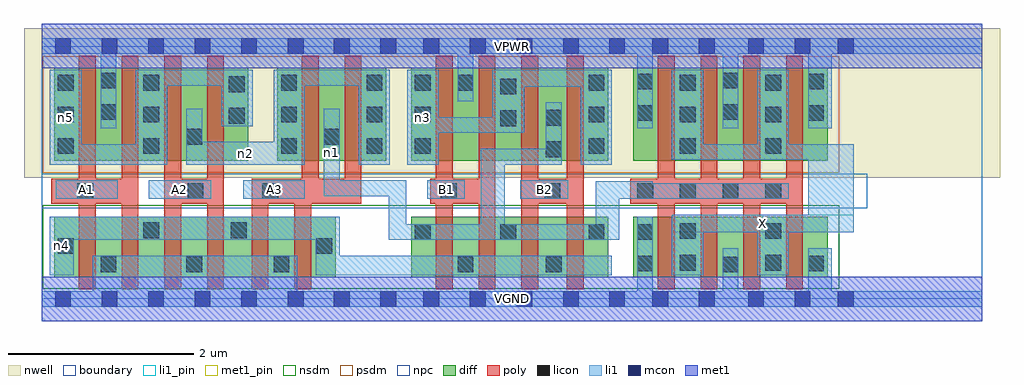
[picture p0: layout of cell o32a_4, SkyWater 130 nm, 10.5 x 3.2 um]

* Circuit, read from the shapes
.subckt o32a_4 A1 A2 A3 B1 B2 VGND VPWR X n1 n2 n3 n4 n5
XM1 VGND A1 n4 VSUBS sky130_fd_pr__nfet_01v8 w=0.65 l=0.18 m=2
XM2 VGND A2 n4 VSUBS sky130_fd_pr__nfet_01v8 w=0.65 l=0.18 m=2
XM3 VGND A3 n4 VSUBS sky130_fd_pr__nfet_01v8 w=0.65 l=0.18 m=2
XM4 n4 B1 n1 VSUBS sky130_fd_pr__nfet_01v8 w=0.65 l=0.18 m=2
XM5 n4 B2 n1 VSUBS sky130_fd_pr__nfet_01v8 w=0.65 l=0.18 m=2
XM6 X n1 VGND VSUBS sky130_fd_pr__nfet_01v8 w=0.65 l=0.18 m=4
XM7 VPWR A1 n5 n6 sky130_fd_pr__pfet_01v8 w=1 l=0.18 m=2
XM8 n2 A2 n5 n6 sky130_fd_pr__pfet_01v8 w=1 l=0.18 m=2
XM9 n1 A3 n2 n6 sky130_fd_pr__pfet_01v8 w=1 l=0.18 m=2
XM10 VPWR B1 n3 n6 sky130_fd_pr__pfet_01v8 w=1 l=0.18 m=2
XM11 n1 B2 n3 n6 sky130_fd_pr__pfet_01v8 w=1 l=0.18 m=2
XM12 X n1 VPWR n6 sky130_fd_pr__pfet_01v8 w=1 l=0.18 m=4
.ends

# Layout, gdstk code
import gdstk
lib = gdstk.Library(unit=1e-6, precision=1e-09)
def R(c, l, rs):  # rectangles x0, y0, x1, y1
    for r in rs: c.add(gdstk.rectangle(r[:2], r[2:], *l))
def A(c, l, x, y, w, h, nx, ny, dx, dy):  # array of equal rectangles
    R(c, l, [(x+i*dx, y+j*dy, x+i*dx+w, y+j*dy+h) for i in range(nx) for j in range(ny)])
nwell = (64, 20)
diff = (65, 20)
poly = (66, 20)
licon = (66, 44)
li1_pin = (67, 16)
li1 = (67, 20)
mcon = (67, 44)
met1_pin = (68, 16)
met1 = (68, 20)
nsdm = (93, 44)
psdm = (94, 20)
npc = (95, 20)
boundary = (235, 4)

o32a_4 = lib.new_cell('o32a_4')
R(o32a_4, nwell, [(-0.19,1.305,10.31,2.91), (0,1.305,10.12,2.91)])
R(o32a_4, diff, [(0.135,0.235,3.165,0.885), (3.975,0.235,6.095,0.885), (6.365,0.235,8.455,0.885), (0.135,1.485,2.225,2.485), (2.535,1.485,3.705,2.485), (3.975,1.485,6.095,2.485), (6.365,1.485,8.455,2.485)])
A(o32a_4, poly, 0.4, 0.105, 0.18, 2.51, 4, 1, 0.46, 0)
A(o32a_4, poly, 4.24, 0.105, 0.18, 2.51, 3, 1, 0.46, 0)
A(o32a_4, poly, 6.63, 0.105, 0.18, 2.51, 4, 1, 0.46, 0)
R(o32a_4, poly, [(2.26,0.105,2.44,1.295), (2.72,0.105,2.9,1.295), (5.65,0.105,5.83,2.615), (0.105,1.025,1.04,1.295), (1.32,1.025,1.96,1.295), (2.26,1.025,3.44,1.295), (2.8,1.025,2.98,2.615), (3.26,1.025,3.44,2.615), (4.18,1.025,4.88,1.295), (5.16,1.025,5.83,1.295), (6.33,1.025,8.19,1.295)])
A(o32a_4, licon, 6.865, 1.075, 0.17, 0.17, 3, 1, 0.46, 0)
A(o32a_4, licon, 0.175, 1.56, 0.17, 0.17, 1, 3, 0, 0.34)
A(o32a_4, licon, 1.095, 1.56, 0.17, 0.17, 1, 3, 0, 0.34)
A(o32a_4, licon, 2.575, 1.56, 0.17, 0.17, 1, 3, 0, 0.34)
A(o32a_4, licon, 3.495, 1.56, 0.17, 0.17, 1, 3, 0, 0.34)
A(o32a_4, licon, 4.015, 1.56, 0.17, 0.17, 1, 3, 0, 0.34)
A(o32a_4, licon, 5.885, 1.56, 0.17, 0.17, 1, 3, 0, 0.34)
A(o32a_4, licon, 6.865, 1.56, 0.17, 0.17, 1, 3, 0, 0.34)
A(o32a_4, licon, 7.785, 1.56, 0.17, 0.17, 1, 3, 0, 0.34)
R(o32a_4, licon, [(0.635,0.285,0.805,0.455), (1.555,0.285,1.725,0.455), (2.495,0.285,2.665,0.455), (4.475,0.285,4.645,0.455), (5.425,0.285,5.595,0.455), (7.325,0.285,7.495,0.455), (6.405,0.295,6.575,0.465), (8.245,0.295,8.415,0.465), (6.865,0.305,7.035,0.475), (7.785,0.305,7.955,0.475), (0.175,0.485,0.345,0.655), (2.955,0.485,3.125,0.655), (4.015,0.635,4.185,0.805), (4.935,0.635,5.105,0.805), (5.885,0.635,6.055,0.805), (6.405,0.635,6.575,0.805), (6.865,0.645,7.035,0.815), (7.785,0.645,7.955,0.815), (1.095,0.655,1.265,0.825), (2.035,0.655,2.205,0.825), (0.385,1.075,0.555,1.245), (1.57,1.075,1.74,1.245), (2.375,1.075,2.545,1.245), (4.295,1.075,4.465,1.245), (5.41,1.075,5.58,1.245), (6.41,1.075,6.58,1.245), (5.425,1.525,5.595,1.695), (1.555,1.66,1.725,1.83), (3.035,1.66,3.205,1.83), (4.935,1.86,5.105,2.03), (5.425,1.865,5.595,2.035), (2.015,1.885,2.185,2.055), (6.405,1.915,6.575,2.085), (8.245,1.915,8.415,2.085), (0.635,1.925,0.805,2.095), (7.325,1.925,7.495,2.095), (4.935,2.2,5.105,2.37), (2.015,2.225,2.185,2.395), (4.475,2.24,4.645,2.41), (6.405,2.255,6.575,2.425), (8.245,2.255,8.415,2.425), (0.635,2.265,0.805,2.435), (7.325,2.265,7.495,2.435)])
R(o32a_4, li1_pin, [(6.78,0.715,8.735,0.905), (0.15,1.075,0.82,1.275), (1.15,1.075,1.825,1.275), (2.17,1.075,2.83,1.275), (4.15,1.075,4.55,1.275), (5.15,1.075,5.665,1.275)])
R(o32a_4, li1, [(0,-0.085,10.12,0.085), (0.55,-0.085,2.75,0.465), (6.405,-0.085,6.575,0.885), (7.325,-0.085,7.495,0.545), (8.245,-0.085,8.5,0.545), (0.085,0.255,0.345,0.885), (2.95,0.255,6.135,0.465), (2.95,0.255,3.205,0.885), (6.78,0.255,7.12,0.905), (7.7,0.255,8.04,0.905), (0.085,0.635,3.205,0.885), (3.735,0.635,6.215,0.805), (3.735,0.635,3.925,1.275), (4.725,0.635,4.98,1.615), (5.96,0.635,6.215,1.265), (6.78,0.715,8.735,0.905), (8.245,0.715,8.735,1.665), (0.15,1.075,0.82,1.275), (1.15,1.075,1.825,1.275), (2.17,1.075,2.83,1.275), (4.15,1.075,4.55,1.275), (5.15,1.075,5.665,1.275), (5.96,1.075,8.04,1.245), (5.96,1.075,6.575,1.265), (3.035,1.105,3.205,2.045), (3.035,1.105,3.925,1.275), (0.085,1.445,0.43,2.465), (0.085,1.445,1.35,1.665), (1.01,1.445,1.35,2.465), (1.555,1.445,2.83,1.69), (1.555,1.445,1.725,2.045), (2.495,1.445,2.83,2.465), (3.41,1.445,3.745,2.465), (3.935,1.445,4.27,2.465), (4.725,1.445,5.595,1.615), (5.425,1.445,5.595,2.115), (5.8,1.445,6.135,2.465), (6.78,1.495,7.12,2.465), (6.78,1.495,8.735,1.665), (7.7,1.495,8.04,2.465), (3.935,1.785,5.19,1.955), (4.85,1.785,5.19,2.465), (0.635,1.835,0.805,2.805), (6.405,1.835,6.575,2.805), (7.325,1.835,7.495,2.805), (8.245,1.835,8.5,2.805), (1.93,1.86,2.27,2.465), (4.475,2.125,4.645,2.805), (4.85,2.285,6.135,2.465), (1.01,2.295,2.27,2.465), (2.495,2.295,3.745,2.465), (0,2.635,10.12,2.805)])
A(o32a_4, mcon, 0.145, -0.085, 0.17, 0.17, 5, 2, 0.5, 2.72)
R(o32a_4, mcon, [(2.65,-0.085,2.82,0.085), (3.145,-0.085,3.315,0.085), (3.645,-0.085,3.815,0.085), (4.105,-0.085,4.275,0.085), (4.605,-0.085,4.775,0.085), (5.11,-0.085,5.28,0.085), (5.61,-0.085,5.78,0.085), (6.105,-0.085,6.275,0.085), (6.57,-0.085,6.74,0.085), (7.07,-0.085,7.24,0.085), (7.6,-0.085,7.77,0.085), (8.1,-0.085,8.27,0.085), (8.565,-0.085,8.735,0.085), (2.65,2.635,2.82,2.805), (3.145,2.635,3.315,2.805), (3.645,2.635,3.815,2.805), (4.105,2.635,4.275,2.805), (4.605,2.635,4.775,2.805), (5.11,2.635,5.28,2.805), (5.61,2.635,5.78,2.805), (6.105,2.635,6.275,2.805), (6.57,2.635,6.74,2.805), (7.07,2.635,7.24,2.805), (7.6,2.635,7.77,2.805), (8.1,2.635,8.27,2.805), (8.565,2.635,8.735,2.805)])
R(o32a_4, met1_pin, [(0,-0.24,10.12,0.24), (0,2.48,10.12,2.96)])
R(o32a_4, met1, [(0,-0.24,10.12,0.24), (0,2.48,10.12,2.96)])
R(o32a_4, nsdm, [(0.01,0.11,8.58,1.01)])
R(o32a_4, psdm, [(0.01,1.36,8.58,2.61)])
R(o32a_4, npc, [(0,0.975,8.88,1.345)])
R(o32a_4, boundary, [(0,0,10.12,2.72)])
o32a_4.add(gdstk.Label('A1', (0.485,1.175), layer=67, texttype=5))
o32a_4.add(gdstk.Label('A2', (1.487,1.175), layer=67, texttype=5))
o32a_4.add(gdstk.Label('A3', (2.5,1.175), layer=67, texttype=5))
o32a_4.add(gdstk.Label('B1', (4.35,1.175), layer=67, texttype=5))
o32a_4.add(gdstk.Label('B2', (5.407,1.175), layer=67, texttype=5))
o32a_4.add(gdstk.Label('X', (7.757,0.81), layer=67, texttype=5))
o32a_4.add(gdstk.Label('n4', (0.215,0.57), layer=67, texttype=5))
o32a_4.add(gdstk.Label('n1', (3.12,1.575), layer=67, texttype=5))
o32a_4.add(gdstk.Label('n5', (0.257,1.955), layer=67, texttype=5))
o32a_4.add(gdstk.Label('n2', (2.192,1.567), layer=67, texttype=5))
o32a_4.add(gdstk.Label('n3', (4.102,1.955), layer=67, texttype=5))
o32a_4.add(gdstk.Label('VPWR', (5.06,2.72), layer=68, texttype=5))
o32a_4.add(gdstk.Label('VGND', (5.06,0), layer=68, texttype=5))
o32a_4.add(gdstk.Label('A1', (0.485,1.175), layer=67, texttype=16))
o32a_4.add(gdstk.Label('A2', (1.487,1.175), layer=67, texttype=16))
o32a_4.add(gdstk.Label('A3', (2.5,1.175), layer=67, texttype=16))
o32a_4.add(gdstk.Label('B1', (4.35,1.175), layer=67, texttype=16))
o32a_4.add(gdstk.Label('B2', (5.407,1.175), layer=67, texttype=16))
o32a_4.add(gdstk.Label('X', (7.757,0.81), layer=67, texttype=16))
o32a_4.add(gdstk.Label('VPWR', (5.06,2.72), layer=68, texttype=16))
o32a_4.add(gdstk.Label('VGND', (5.06,0), layer=68, texttype=16))

lib.write_gds('o32a_4.gds')
